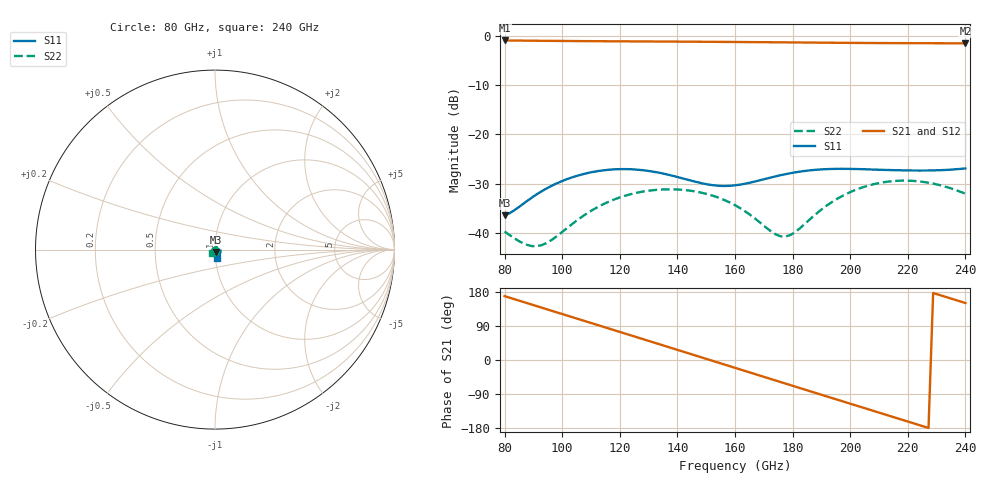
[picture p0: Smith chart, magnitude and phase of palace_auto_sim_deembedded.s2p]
! Created with skrf 1.11.0 (http://scikit-rf.org).
# GHz S DB R 50.0
!freq dBS11 angS11 dBS21 angS21 dBS12 angS12 dBS22 angS22
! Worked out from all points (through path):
!   101 points, 80 GHz to 240 GHz, reference 50 ohm
!   highest |S21| = -0.96 dB at 80 GHz (marker M1); lowest = -1.5 dB at 240 GHz (marker M2)
!   group delay of S21, straight-line fit = 6.57 ps
!   lowest |S11| = -36.4 dB at 80 GHz (marker M3), VSWR 1.03, Z = 50.7 - j1.38 ohm
!   |S11| at or under -10 dB: start of sweep to end of sweep
!   |S22| runs from -42.6 to -29.4 dB; largest |S21 - S12| = 1e-14
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80  -36.41 -63.9  -0.96 168.6  -0.96 168.6  -39.66 -77.6
86.4  -34.08 -46.2  -0.99 153.4  -0.99 153.4  -42.04 -59.8
91.2  -32.12 -43.0  -1.01 142.1  -1.01 142.1  -42.64 -39.6
99.2  -29.63 -46.9  -1.05 123.2  -1.05 123.2  -40.13 -12.5
107.2  -28.05 -55.2  -1.09 104.3  -1.09 104.3  -36.54 -7.1
113.6  -27.32 -63.2  -1.11 89.2  -1.11 89.2  -34.33 -11.9
120  -27.03 -71.5  -1.13 74.1  -1.13 74.1  -32.76 -20.7
126.4  -27.15 -79.2  -1.15 59.0  -1.15 59.0  -31.76 -31.6
134.4  -27.85 -86.7  -1.17 40.0  -1.17 40.0  -31.16 -47.2
147.2  -29.72 -88.8  -1.22 9.7  -1.22 9.7  -31.66 -76.4
153.6  -30.37 -83.8  -1.24 -5.5  -1.24 -5.5  -32.67 -93.5
160  -30.31 -76.9  -1.27 -20.7  -1.27 -20.7  -34.33 -113.6
168  -29.38 -71.3  -1.30 -39.6  -1.30 -39.6  -37.53 -147.7
176  -28.24 -71.0  -1.34 -58.6  -1.34 -58.6  -40.66 153.1
180.8  -27.69 -72.6  -1.36 -69.9  -1.36 -69.9  -39.82 109.1
187.2  -27.21 -75.7  -1.39 -85.1  -1.39 -85.1  -36.57 66.6
193.6  -26.99 -79.0  -1.42 -100.2  -1.42 -100.2  -33.72 37.8
200  -26.98 -81.7  -1.45 -115.3  -1.45 -115.3  -31.69 14.3
214.4  -27.22 -83.8  -1.49 -149.2  -1.49 -149.2  -29.48 -33.7
227.2  -27.30 -82.2  -1.52 -179.4  -1.52 -179.4  -29.78 -78.0
233.6  -27.18 -80.5  -1.53 165.5  -1.53 165.5  -30.67 -102.4
240  -26.88 -78.9  -1.54 150.3  -1.54 150.3  -32.01 -130.0
